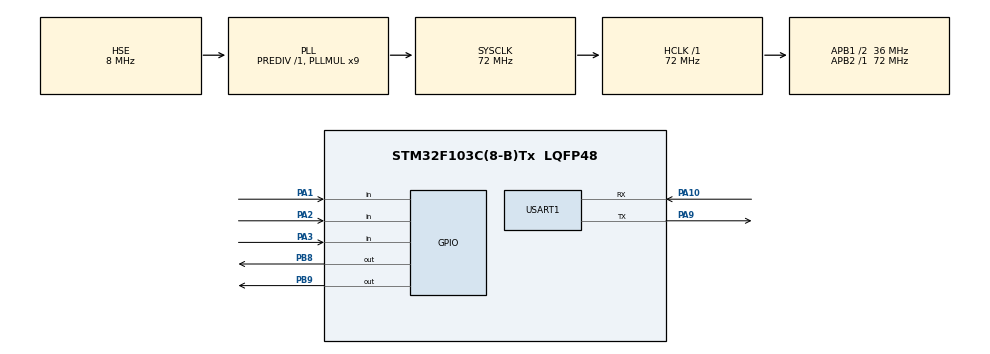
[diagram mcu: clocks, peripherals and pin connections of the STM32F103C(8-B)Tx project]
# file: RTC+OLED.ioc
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Mcu.Family=STM32F1
Mcu.Name=STM32F103C(8-B)Tx
Mcu.Package=LQFP48
NVIC.PriorityGroup=NVIC_PRIORITYGROUP_4
PA1.GPIO_PuPd=GPIO_PULLUP
PA1.Signal=GPIO_Input
PA10.Mode=Asynchronous
PA10.Signal=USART1_RX
PA13.Mode=Serial_Wire
PA13.Signal=SYS_JTMS-SWDIO
PA14.Mode=Serial_Wire
PA14.Signal=SYS_JTCK-SWCLK
PA2.GPIO_PuPd=GPIO_PULLUP
PA2.Signal=GPIO_Input
PA3.GPIO_PuPd=GPIO_PULLUP
PA3.Signal=GPIO_Input
PA9.Mode=Asynchronous
PA9.Signal=USART1_TX
PB8.GPIO_ModeDefaultOutputPP=GPIO_MODE_OUTPUT_OD
PB8.GPIO_PuPd=GPIO_NOPULL
PB8.GPIO_Speed=GPIO_SPEED_FREQ_HIGH
PB8.PinState=GPIO_PIN_SET
PB8.Signal=GPIO_Output
PB9.GPIO_ModeDefaultOutputPP=GPIO_MODE_OUTPUT_OD
PB9.GPIO_PuPd=GPIO_NOPULL
PB9.GPIO_Speed=GPIO_SPEED_FREQ_HIGH
PB9.PinState=GPIO_PIN_SET
PB9.Signal=GPIO_Output
PC14-OSC32_IN.Mode=LSE-External-Oscillator
PC14-OSC32_IN.Signal=RCC_OSC32_IN
PC15-OSC32_OUT.Mode=LSE-External-Oscillator
PC15-OSC32_OUT.Signal=RCC_OSC32_OUT
PD0-OSC_IN.Mode=HSE-External-Oscillator
PD0-OSC_IN.Signal=RCC_OSC_IN
PD1-OSC_OUT.Mode=HSE-External-Oscillator
PD1-OSC_OUT.Signal=RCC_OSC_OUT
ProjectManager.HeapSize=0x200
ProjectManager.StackSize=0x400
ProjectManager.TargetToolchain=CMake
RCC.AHBFreq_Value=72000000
RCC.APB1CLKDivider=RCC_HCLK_DIV2
RCC.APB1Freq_Value=36000000
RCC.APB1TimFreq_Value=72000000
RCC.APB2Freq_Value=72000000
RCC.APB2TimFreq_Value=72000000
RCC.HCLKFreq_Value=72000000
RCC.PLLMUL=RCC_PLL_MUL9
RCC.PLLSourceVirtual=RCC_PLLSOURCE_HSE
RCC.RTCClockSelection=RCC_RTCCLKSOURCE_LSE
RCC.SYSCLKFreq_VALUE=72000000
RCC.SYSCLKSource=RCC_SYSCLKSOURCE_PLLCLK
RCC.USBFreq_Value=72000000
RTC.Date=10
RTC.Format=RTC_FORMAT_BIN
RTC.Hours=12
RTC.Minutes=0
RTC.Month=RTC_MONTH_DECEMBER
RTC.Seconds=8
RTC.WeekDay=RTC_WEEKDAY_SATURDAY
USART1.VirtualMode=VM_ASYNC
VP_RTC_VS_RTC_Activate.Mode=RTC_Enabled
VP_RTC_VS_RTC_Calendar.Mode=RTC_Calendar
board=custom

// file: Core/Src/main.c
/* USER CODE BEGIN Header */
/**
  ******************************************************************************
  * @file           : main.c
  * @brief          : Main program body
  ******************************************************************************
  * @attention
  *
  * Copyright (c) 2026 STMicroelectronics.
  * All rights reserved.
  *
  * This software is licensed under terms that can be found in the LICENSE file
  * in the root directory of this software component.
  * If no LICENSE file comes with this software, it is provided AS-IS.
  *
  ******************************************************************************
  */
/* USER CODE END Header */
#include "main.h"
#include "rtc.h"
#include "stm32f1xx_hal_gpio.h"
#include "usart.h"
#include "gpio.h"

/* USER CODE BEGIN Includes */
#include <stdio.h>
#include "OLED.h"
#include "key.h"
#include "time_edit.h"
#include "alarm_edit.h"
#include "alarm.h"
/* USER CODE END Includes */

/* USER CODE BEGIN PV */
RTC_TimeTypeDef alarmTime = {0};
/* USER CODE END PV */

void SystemClock_Config(void);

int main(void)
{

  /* MCU Configuration--------------------------------------------------------*/

  /* Reset of all peripherals, Initializes the Flash interface and the Systick. */
  HAL_Init();

  /* Configure the system clock */
  SystemClock_Config();

  /* Initialize all configured peripherals */
  MX_GPIO_Init();
  MX_RTC_Init();
  MX_USART1_UART_Init();
  /* USER CODE BEGIN 2 */
  OLED_Init();
  uint8_t select = 0;//0调整小时，1调整分钟，2调整秒
  uint8_t mode = 0; // 0表示调整RTC，1表示调整闹钟

  alarmTime.Hours = 7;//需要设成全局变量供其他文件使用（extern）
  alarmTime.Minutes = 30;
  alarmTime.Seconds = 0;
  RTC_TimeTypeDef now = {0};
  char buf[20];

  now.Hours = 23;
  now.Minutes = 59;
  now.Seconds = 50;

  HAL_RTC_SetTime(&hrtc, &now, RTC_FORMAT_BIN);

  /* USER CODE END 2 */

  /* Infinite loop */
  while (1)
  {

    /* USER CODE BEGIN 3 */
    HAL_RTC_GetTime(&hrtc, &now, RTC_FORMAT_BIN);
    Alarm_Check(now, alarmTime);

    uint8_t key = Key_GetNum();
    if (Alarm_IsOn() && key != 0) // 如果闹钟响起且有按键被按下
    {
        Alarm_Stop(); // 停止闹钟
    }

    else if (key == 4) // 如果按键值为 4，表示长按
    {
      mode = (mode + 1) % 2; // 切换模式：0 -> 1 -> 0

    }

    else if (key == 1)
    {
      select = (select + 1) % 3; // 循环选择调整的时间部分（小时、分钟、秒）
    }
    else if (key == 2)
    {
      if (mode == 0)
        Time_Adjust(select, key);
      else
        Alarm_Adjust(select, key);
    }
    else if (key == 3)
    {
      if (mode == 0)
        Time_Adjust(select, key);
      else
        Alarm_Adjust(select, key);

    }

    HAL_RTC_GetTime(&hrtc, &now, RTC_FORMAT_BIN);

    sprintf(buf, "%02d:%02d:%02d",
                      now.Hours, now.Minutes, now.Seconds);
    //sprintf 是 C 语言标准库中用于格式化字符串的函数
    OLED_ShowString(2, 1, buf);

    if (mode == 0)
      OLED_ShowString(1, 1, "SET TIME");
    else
      OLED_ShowString(1, 1, "SET ALARM ");
    sprintf(buf, "%02d:%02d:%02d",
                      alarmTime.Hours, alarmTime.Minutes, alarmTime.Seconds);

    if (Alarm_IsOn())
    {
      if(HAL_GetTick() % 1000 < 500) // 每500ms闪烁一次
        OLED_ShowString(3, 1, buf);
      else
        OLED_ShowString(3, 1, "          ");
      OLED_ShowString(4, 1, "ALARM!!!");
    }
    else
    {
      OLED_ShowString(3, 1, buf);
      if (select == 0)
      OLED_ShowString(4, 1, "SET HOUR  ");
      else if (select == 1)
      OLED_ShowString(4, 1, "SET MIN   ");
      else
      OLED_ShowString(4, 1, "SET SEC   ");
    }

    HAL_Delay(50);// 如果延时1000ms，STM32 每秒才检查一次按键，短按可能检测不到。改成50ms后，按键响应会好很多

  }

    /* USER CODE END 3 */
}

void SystemClock_Config(void)
{
  RCC_OscInitTypeDef RCC_OscInitStruct = {0};
  RCC_ClkInitTypeDef RCC_ClkInitStruct = {0};
  RCC_PeriphCLKInitTypeDef PeriphClkInit = {0};

  /** Initializes the RCC Oscillators according to the specified parameters
  * in the RCC_OscInitTypeDef structure.
  */
  RCC_OscInitStruct.OscillatorType = RCC_OSCILLATORTYPE_HSE|RCC_OSCILLATORTYPE_LSE;
  RCC_OscInitStruct.HSEState = RCC_HSE_ON;
  RCC_OscInitStruct.HSEPredivValue = RCC_HSE_PREDIV_DIV1;
  RCC_OscInitStruct.LSEState = RCC_LSE_ON;
  RCC_OscInitStruct.HSIState = RCC_HSI_ON;
  RCC_OscInitStruct.PLL.PLLState = RCC_PLL_ON;
  RCC_OscInitStruct.PLL.PLLSource = RCC_PLLSOURCE_HSE;
  RCC_OscInitStruct.PLL.PLLMUL = RCC_PLL_MUL9;
  if (HAL_RCC_OscConfig(&RCC_OscInitStruct) != HAL_OK)
  {
    Error_Handler();
  }

  /** Initializes the CPU, AHB and APB buses clocks
  */
  RCC_ClkInitStruct.ClockType = RCC_CLOCKTYPE_HCLK|RCC_CLOCKTYPE_SYSCLK
                              |RCC_CLOCKTYPE_PCLK1|RCC_CLOCKTYPE_PCLK2;
  RCC_ClkInitStruct.SYSCLKSource = RCC_SYSCLKSOURCE_PLLCLK;
  RCC_ClkInitStruct.AHBCLKDivider = RCC_SYSCLK_DIV1;
  RCC_ClkInitStruct.APB1CLKDivider = RCC_HCLK_DIV2;
  RCC_ClkInitStruct.APB2CLKDivider = RCC_HCLK_DIV1;

  if (HAL_RCC_ClockConfig(&RCC_ClkInitStruct, FLASH_LATENCY_2) != HAL_OK)
  {
    Error_Handler();
  }
  PeriphClkInit.PeriphClockSelection = RCC_PERIPHCLK_RTC;
  PeriphClkInit.RTCClockSelection = RCC_RTCCLKSOURCE_LSE;
  if (HAL_RCCEx_PeriphCLKConfig(&PeriphClkInit) != HAL_OK)
  {
    Error_Handler();
  }
}

void Error_Handler(void)
{
  __disable_irq();
  while (1)
  {
  }
}
